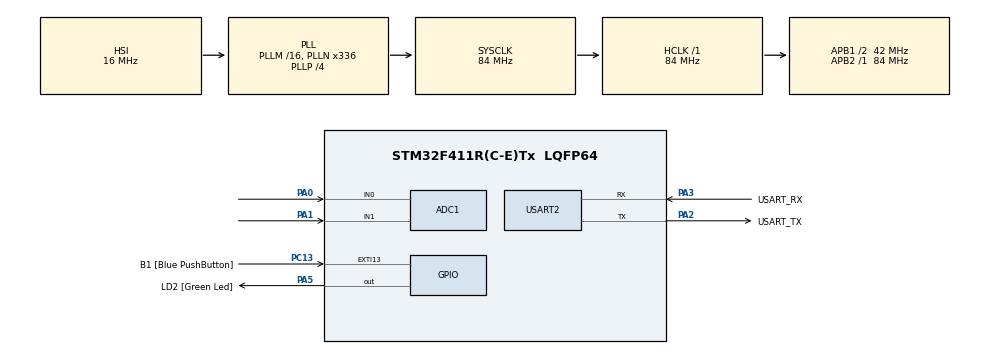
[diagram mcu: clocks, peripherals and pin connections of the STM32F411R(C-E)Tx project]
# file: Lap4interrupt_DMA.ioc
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ADC1.Channel-0\#ChannelRegularConversion=ADC_CHANNEL_0
ADC1.Channel-1\#ChannelRegularConversion=ADC_CHANNEL_1
ADC1.ContinuousConvMode=ENABLE
ADC1.DMAContinuousRequests=ENABLE
ADC1.NbrOfConversion=2
ADC1.NbrOfConversionFlag=1
ADC1.Rank-0\#ChannelRegularConversion=1
ADC1.Rank-1\#ChannelRegularConversion=2
ADC1.SamplingTime-0\#ChannelRegularConversion=ADC_SAMPLETIME_480CYCLES
ADC1.SamplingTime-1\#ChannelRegularConversion=ADC_SAMPLETIME_480CYCLES
ADC1.ScanConvMode=ENABLE
ADC1.master=1
Dma.ADC1.0.Direction=DMA_PERIPH_TO_MEMORY
Dma.ADC1.0.FIFOMode=DMA_FIFOMODE_DISABLE
Dma.ADC1.0.Instance=DMA2_Stream0
Dma.ADC1.0.MemDataAlignment=DMA_MDATAALIGN_WORD
Dma.ADC1.0.MemInc=DMA_MINC_ENABLE
Dma.ADC1.0.Mode=DMA_CIRCULAR
Dma.ADC1.0.PeriphDataAlignment=DMA_PDATAALIGN_WORD
Dma.ADC1.0.PeriphInc=DMA_PINC_DISABLE
Dma.ADC1.0.Priority=DMA_PRIORITY_LOW
Dma.Request0=ADC1
Mcu.Family=STM32F4
Mcu.Name=STM32F411R(C-E)Tx
Mcu.Package=LQFP64
NVIC.DMA2_Stream0_IRQn=true\:0\:0\:false\:false\:true\:false\:true
NVIC.EXTI15_10_IRQn=true\:0\:0\:false\:false\:true\:true\:true
NVIC.PriorityGroup=NVIC_PRIORITYGROUP_0
PA0-WKUP.Signal=ADCx_IN0
PA1.Signal=ADCx_IN1
PA13.GPIO_Label=TMS
PA13.Mode=Serial_Wire
PA13.Signal=SYS_JTMS-SWDIO
PA14.GPIO_Label=TCK
PA14.Mode=Serial_Wire
PA14.Signal=SYS_JTCK-SWCLK
PA2.GPIO_Label=USART_TX
PA2.Mode=Asynchronous
PA2.Signal=USART2_TX
PA3.GPIO_Label=USART_RX
PA3.Mode=Asynchronous
PA3.Signal=USART2_RX
PA5.GPIO_Label=LD2 [Green Led]
PA5.Signal=GPIO_Output
PB3.GPIO_Label=SWO
PB3.Signal=SYS_JTDO-SWO
PC13-ANTI_TAMP.GPIO_Label=B1 [Blue PushButton]
PC13-ANTI_TAMP.GPIO_ModeDefaultEXTI=GPIO_MODE_IT_RISING_FALLING
PC13-ANTI_TAMP.GPIO_PuPd=GPIO_PULLUP
PC13-ANTI_TAMP.Signal=GPXTI13
PC14-OSC32_IN.Mode=LSE-External-Oscillator
PC14-OSC32_IN.Signal=RCC_OSC32_IN
PC15-OSC32_OUT.Mode=LSE-External-Oscillator
PC15-OSC32_OUT.Signal=RCC_OSC32_OUT
PH0\ -\ OSC_IN.Mode=HSE-External-Clock-Source
PH0\ -\ OSC_IN.Signal=RCC_OSC_IN
PH1\ -\ OSC_OUT.Mode=HSE-External-Clock-Source
PH1\ -\ OSC_OUT.Signal=RCC_OSC_OUT
ProjectManager.HeapSize=0x200
ProjectManager.StackSize=0x400
ProjectManager.TargetToolchain=STM32CubeIDE
RCC.48MHZClocksFreq_Value=84000000
RCC.AHBFreq_Value=84000000
RCC.APB1CLKDivider=RCC_HCLK_DIV2
RCC.APB1Freq_Value=42000000
RCC.APB1TimFreq_Value=84000000
RCC.APB2Freq_Value=84000000
RCC.APB2TimFreq_Value=84000000
RCC.CortexFreq_Value=84000000
RCC.FLatency-AdvancedSettings=FLASH_LATENCY_2
RCC.HCLKFreq_Value=84000000
RCC.HSE_VALUE=8000000
RCC.HSI_VALUE=16000000
RCC.PLLN=336
RCC.PLLP=RCC_PLLP_DIV4
RCC.SYSCLKFreq_VALUE=84000000
RCC.SYSCLKSource=RCC_SYSCLKSOURCE_PLLCLK
RCC.VCOOutputFreq_Value=336000000
SH.ADCx_IN0.0=ADC1_IN0,IN0
SH.ADCx_IN1.0=ADC1_IN1,IN1
USART2.VirtualMode=VM_ASYNC
board=NUCLEO-F411RE

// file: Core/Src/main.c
/* USER CODE BEGIN Header */
/**
  ******************************************************************************
  * @file           : main.c
  * @brief          : Main program body
  ******************************************************************************
  * @attention
  *
  * <h2><center>&copy; Copyright (c) 2021 STMicroelectronics.
  * All rights reserved.</center></h2>
  *
  * This software component is licensed by ST under BSD 3-Clause license,
  * the "License"; You may not use this file except in compliance with the
  * License. You may obtain a copy of the License at:
  *                        opensource.org/licenses/BSD-3-Clause
  *
  ******************************************************************************
  */
/* USER CODE END Header */
#include "main.h"

ADC_HandleTypeDef hadc1;
DMA_HandleTypeDef hdma_adc1;

UART_HandleTypeDef huart2;

/* USER CODE BEGIN PV */
uint32_t ADC_data[2] = {0};

uint16_t press = 0 ;

uint32_t Time_Random = 0;	 		//Random
uint32_t Time_Find = 0;				//We have to find THIS ONE!!!

uint32_t time_LEDoff = 0;
uint32_t time_waitfor_LEDon = 0;	//When user raise his/her finger.

/* USER CODE END PV */

void SystemClock_Config(void);
static void MX_GPIO_Init(void);
static void MX_DMA_Init(void);
static void MX_USART2_UART_Init(void);
static void MX_ADC1_Init(void);

int main(void)
{
  /* USER CODE BEGIN 1 */
//	uint32_t time_waitfor_LEDon = 0;
  /* USER CODE END 1 */

  /* MCU Configuration--------------------------------------------------------*/

  /* Reset of all peripherals, Initializes the Flash interface and the Systick. */
  HAL_Init();

  /* Configure the system clock */
  SystemClock_Config();

  /* Initialize all configured peripherals */
  MX_GPIO_Init();
  MX_DMA_Init();
  MX_USART2_UART_Init();
  MX_ADC1_Init();
  /* USER CODE BEGIN 2 */

  HAL_ADC_Start_DMA(&hadc1, ADC_data, 2);

  /* USER CODE END 2 */

  /* Infinite loop */
  while (1)
  {

    /* USER CODE BEGIN 3 */

	  if(press == 1){
		  time_waitfor_LEDon = HAL_GetTick();

		  if(Time_Random <= ((int)time_waitfor_LEDon - (int)time_LEDoff)){
			  HAL_GPIO_WritePin(LD2_GPIO_Port, LD2_Pin, GPIO_PIN_SET);
			  press = 2;
		  }
	  }

  }
  /* USER CODE END 3 */
}

void SystemClock_Config(void)
{
  RCC_OscInitTypeDef RCC_OscInitStruct = {0};
  RCC_ClkInitTypeDef RCC_ClkInitStruct = {0};

  /** Configure the main internal regulator output voltage
  */
  __HAL_RCC_PWR_CLK_ENABLE();
  __HAL_PWR_VOLTAGESCALING_CONFIG(PWR_REGULATOR_VOLTAGE_SCALE1);
  /** Initializes the RCC Oscillators according to the specified parameters
  * in the RCC_OscInitTypeDef structure.
  */
  RCC_OscInitStruct.OscillatorType = RCC_OSCILLATORTYPE_HSI;
  RCC_OscInitStruct.HSIState = RCC_HSI_ON;
  RCC_OscInitStruct.HSICalibrationValue = RCC_HSICALIBRATION_DEFAULT;
  RCC_OscInitStruct.PLL.PLLState = RCC_PLL_ON;
  RCC_OscInitStruct.PLL.PLLSource = RCC_PLLSOURCE_HSI;
  RCC_OscInitStruct.PLL.PLLM = 16;
  RCC_OscInitStruct.PLL.PLLN = 336;
  RCC_OscInitStruct.PLL.PLLP = RCC_PLLP_DIV4;
  RCC_OscInitStruct.PLL.PLLQ = 4;
  if (HAL_RCC_OscConfig(&RCC_OscInitStruct) != HAL_OK)
  {
    Error_Handler();
  }
  /** Initializes the CPU, AHB and APB buses clocks
  */
  RCC_ClkInitStruct.ClockType = RCC_CLOCKTYPE_HCLK|RCC_CLOCKTYPE_SYSCLK
                              |RCC_CLOCKTYPE_PCLK1|RCC_CLOCKTYPE_PCLK2;
  RCC_ClkInitStruct.SYSCLKSource = RCC_SYSCLKSOURCE_PLLCLK;
  RCC_ClkInitStruct.AHBCLKDivider = RCC_SYSCLK_DIV1;
  RCC_ClkInitStruct.APB1CLKDivider = RCC_HCLK_DIV2;
  RCC_ClkInitStruct.APB2CLKDivider = RCC_HCLK_DIV1;

  if (HAL_RCC_ClockConfig(&RCC_ClkInitStruct, FLASH_LATENCY_2) != HAL_OK)
  {
    Error_Handler();
  }
}

static void MX_ADC1_Init(void)
{

  ADC_ChannelConfTypeDef sConfig = {0};

  /** Configure the global features of the ADC (Clock, Resolution, Data Alignment and number of conversion)
  */
  hadc1.Instance = ADC1;
  hadc1.Init.ClockPrescaler = ADC_CLOCK_SYNC_PCLK_DIV4;
  hadc1.Init.Resolution = ADC_RESOLUTION_12B;
  hadc1.Init.ScanConvMode = ENABLE;
  hadc1.Init.ContinuousConvMode = ENABLE;
  hadc1.Init.DiscontinuousConvMode = DISABLE;
  hadc1.Init.ExternalTrigConvEdge = ADC_EXTERNALTRIGCONVEDGE_NONE;
  hadc1.Init.ExternalTrigConv = ADC_SOFTWARE_START;
  hadc1.Init.DataAlign = ADC_DATAALIGN_RIGHT;
  hadc1.Init.NbrOfConversion = 2;
  hadc1.Init.DMAContinuousRequests = ENABLE;
  hadc1.Init.EOCSelection = ADC_EOC_SINGLE_CONV;
  if (HAL_ADC_Init(&hadc1) != HAL_OK)
  {
    Error_Handler();
  }
  /** Configure for the selected ADC regular channel its corresponding rank in the sequencer and its sample time.
  */
  sConfig.Channel = ADC_CHANNEL_0;
  sConfig.Rank = 1;
  sConfig.SamplingTime = ADC_SAMPLETIME_480CYCLES;
  if (HAL_ADC_ConfigChannel(&hadc1, &sConfig) != HAL_OK)
  {
    Error_Handler();
  }
  /** Configure for the selected ADC regular channel its corresponding rank in the sequencer and its sample time.
  */
  sConfig.Channel = ADC_CHANNEL_1;
  sConfig.Rank = 2;
  if (HAL_ADC_ConfigChannel(&hadc1, &sConfig) != HAL_OK)
  {
    Error_Handler();
  }

}

static void MX_USART2_UART_Init(void)
{

  huart2.Instance = USART2;
  huart2.Init.BaudRate = 115200;
  huart2.Init.WordLength = UART_WORDLENGTH_8B;
  huart2.Init.StopBits = UART_STOPBITS_1;
  huart2.Init.Parity = UART_PARITY_NONE;
  huart2.Init.Mode = UART_MODE_TX_RX;
  huart2.Init.HwFlowCtl = UART_HWCONTROL_NONE;
  huart2.Init.OverSampling = UART_OVERSAMPLING_16;
  if (HAL_UART_Init(&huart2) != HAL_OK)
  {
    Error_Handler();
  }

}

static void MX_DMA_Init(void)
{

  /* DMA controller clock enable */
  __HAL_RCC_DMA2_CLK_ENABLE();

  /* DMA interrupt init */
  /* DMA2_Stream0_IRQn interrupt configuration */
  HAL_NVIC_SetPriority(DMA2_Stream0_IRQn, 0, 0);
  HAL_NVIC_EnableIRQ(DMA2_Stream0_IRQn);

}

static void MX_GPIO_Init(void)
{
  GPIO_InitTypeDef GPIO_InitStruct = {0};

  /* GPIO Ports Clock Enable */
  __HAL_RCC_GPIOC_CLK_ENABLE();
  __HAL_RCC_GPIOH_CLK_ENABLE();
  __HAL_RCC_GPIOA_CLK_ENABLE();
  __HAL_RCC_GPIOB_CLK_ENABLE();

  /*Configure GPIO pin Output Level */
  HAL_GPIO_WritePin(LD2_GPIO_Port, LD2_Pin, GPIO_PIN_SET);

  /*Configure GPIO pin : B1_Pin */
  GPIO_InitStruct.Pin = B1_Pin;
  GPIO_InitStruct.Mode = GPIO_MODE_IT_RISING_FALLING;
  GPIO_InitStruct.Pull = GPIO_PULLUP;
  HAL_GPIO_Init(B1_GPIO_Port, &GPIO_InitStruct);

  /*Configure GPIO pin : LD2_Pin */
  GPIO_InitStruct.Pin = LD2_Pin;
  GPIO_InitStruct.Mode = GPIO_MODE_OUTPUT_PP;
  GPIO_InitStruct.Pull = GPIO_NOPULL;
  GPIO_InitStruct.Speed = GPIO_SPEED_FREQ_LOW;
  HAL_GPIO_Init(LD2_GPIO_Port, &GPIO_InitStruct);

  /* EXTI interrupt init*/
  HAL_NVIC_SetPriority(EXTI15_10_IRQn, 0, 0);
  HAL_NVIC_EnableIRQ(EXTI15_10_IRQn);

}

/* USER CODE BEGIN 4 */
void HAL_GPIO_EXTI_Callback(uint16_t GPIO_Pin)
{
	if(GPIO_Pin == GPIO_PIN_13)
	{
		if (press == 0) // press
		{
			Time_Random = 1000 + (((22695477* ADC_data[0]) + ADC_data[1])%10000) ;
			HAL_GPIO_WritePin(LD2_GPIO_Port, LD2_Pin, GPIO_PIN_RESET);
			time_LEDoff = HAL_GetTick();

			press = 1;
		}
		else			// rise
		{
			Time_Find = HAL_GetTick() - time_waitfor_LEDon;

			//reset
			press = 0;

			//reset for live expression
			Time_Random = 0;
			time_waitfor_LEDon = 0;

		}

	}
}
/* USER CODE END 4 */

void Error_Handler(void)
{
  __disable_irq();
  while (1)
  {
  }
}

/************************ (C) COPYRIGHT STMicroelectronics *****END OF FILE****/
